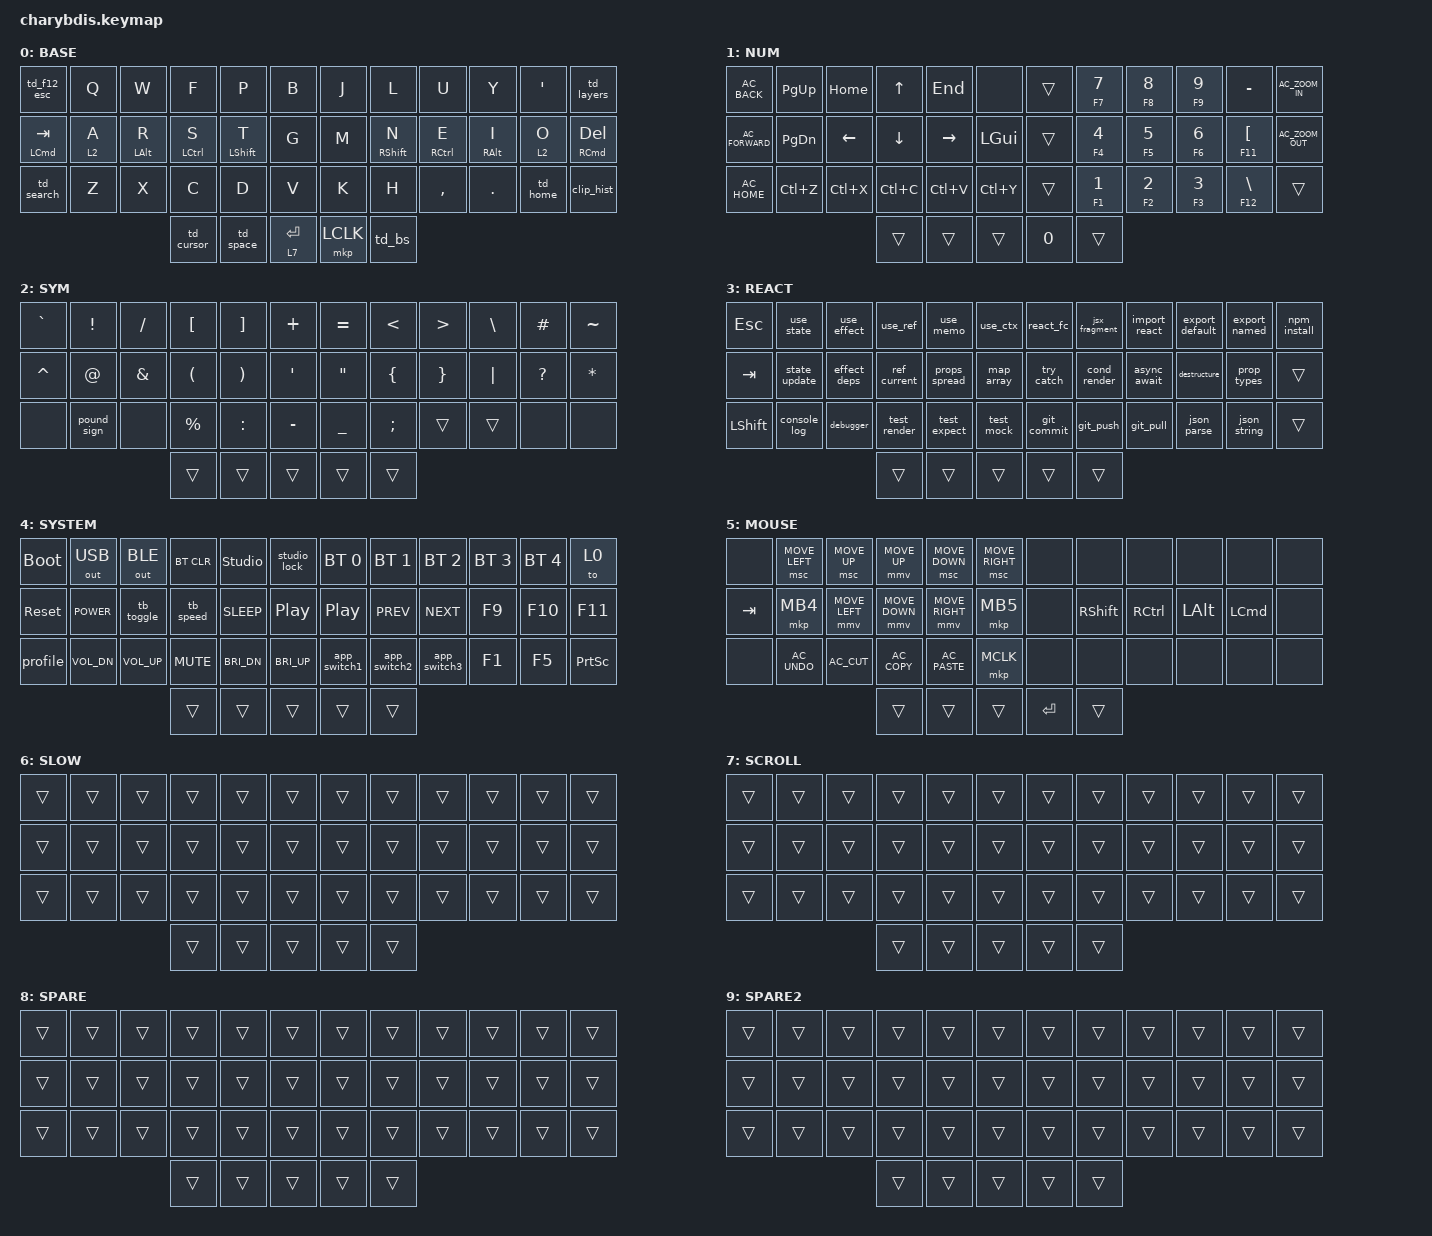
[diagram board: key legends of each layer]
#include <behaviors.dtsi>
#include <dt-bindings/zmk/bt.h>
#include <dt-bindings/zmk/keys.h>
#include <dt-bindings/zmk/mouse.h>
#include <dt-bindings/zmk/outputs.h>
#include <behaviors/mouse_keys.dtsi>
#include <dt-bindings/zmk/ext_power.h>
#include "macros.dtsi"
#include "behaviors.dtsi"
#include "combos.dtsi"
#include "js_react_macros.dtsi"

/ {
    /* input config for mouse move mode */
    trackball_listener {
        compatible = "zmk,input-behavior-listener";
        device = <&vtrackball>;
        layers = <0 1 2 3 5>;
        evt-type = <INPUT_EV_REL>;
        x-input-code = <INPUT_REL_X>;
        y-input-code = <INPUT_REL_Y>;
        scale-multiplier = <4>;
        scale-divisor = <5>;
        // bindings = <&ib_toggle_layer 7>;
    };

    /* input config for snipe mode */
    trackball_snipe_listener {
        compatible = "zmk,input-behavior-listener";
        device = <&vtrackball>;
        layers = <6>;
        evt-type = <INPUT_EV_REL>;
        x-input-code = <INPUT_REL_X>;
        y-input-code = <INPUT_REL_Y>;
        scale-multiplier = <1>;
        scale-divisor = <6>;
    };

    /* input config for mouse scroll mode */
    trackball_scroll_listener {
        compatible = "zmk,input-behavior-listener";
        device = <&vtrackball>;
        layers = <7>;
        evt-type = <INPUT_EV_REL>;
        x-input-code = <INPUT_REL_MISC>;
        y-input-code = <INPUT_REL_WHEEL>;
        y-invert;
        bindings = <&ib_wheel_scaler 1 14>;
    };

    /* define a resolution down scaler only for INPUT_REL_WHEEL */
    ib_wheel_scaler: ib_wheel_scaler {
        compatible = "zmk,input-behavior-scaler";
        #binding-cells = <2>;
        evt-type = <INPUT_EV_REL>;
        input-code = <INPUT_REL_WHEEL>;
    };

    /* adjust cooldown waiting period for mouse key layer after activated */
    ib_toggle_layer: ib_toggle_layer {
        compatible = "zmk,input-behavior-tog-layer";
        #binding-cells = <1>;
        time-to-live-ms = <750>;
    };
// ╭──────┬──────┬──────┬──────┬──────┬──────╮  ╭──────┬──────┬──────┬──────┬──────┬──────╮
//    00     01     02     03    04      05        06     07     08     09     10     11
// ├──────┼──────┼──────┼──────┼──────┼──────┤  ├──────┼──────┼──────┼──────┼──────┼──────┤
//    12     13     14     15    16      17        18     19     20     21     22     23
// ├──────┼──────┼──────┼──────┼──────┼──────┤  ├──────┼──────┼──────┼──────┼──────┼──────┤
//    24     25     26     27    28      29        30     31     32     33     34     35
// ╰──────┴──────┴──────┼──────┼──────┼──────┤  ├──────┼──────┼──────┴──────┴──────┴──────╯
//                         36     37     38        39     40
//                      ╰──────┴──────┴──────╯  ╰──────┴──────╯
// #define BASE    0
// #define NUM     1
// #define SYM     2
// #define REACT   3
// #define SYSTEM  4
// #define MOUSE   5
// #define SLOW    6
// #define SCROLL  7
// #define SPARE   8
// #define SPARE2  9

    keymap {
        compatible = "zmk,keymap";
        BASE {
            bindings = <
// ╭────────────────┬──────────────┬─────────────────────────────┬──────────────────────────────────┬──────────────────────┬────────╮  ╭────────────────┬─────────────────────────┬──────────────────────────────────────┬────────────────────────────────────┬────────────────────────┬──────────────╮
    &td_f12_esc      &kp Q           &kp W                          &kp F                              &kp P                  &kp B       &kp J             &kp L                   &kp U                                   &kp Y                                &kp SQT                  &td_layers
// ├────────────────┼──────────────┼─────────────────────────────┼──────────────────────────────────┼──────────────────────┼────────┤  ├────────────────┼─────────────────────────┼──────────────────────────────────────┼────────────────────────────────────┼────────────────────────┼──────────────┤
    &hm_left LCMD TAB  &lt 2 A      &hm_left LEFT_ALT R            &hm_left LCTRL S                   &hm_left LEFT_SHIFT T  &kp G       &kp M             &hm_right RIGHT_SHIFT N  &hm_right RCTRL E                       &hm_right RIGHT_ALT I                &lt 2 O                &hm_right RCMD  DEL
// ├────────────────┼──────────────┼─────────────────────────────┼──────────────────────────────────┼──────────────────────┼────────┤  ├────────────────┼─────────────────────────┼──────────────────────────────────────┼────────────────────────────────────┼────────────────────────┼──────────────┤
    &td_search          &kp Z        &kp X                          &kp C                              &kp D                  &kp V       &kp K               &kp H                   &kp COMMA                                &kp PERIOD                           &td_home               &clip_hist
// ╰────────────────┴──────────────┴─────────────────────────────┼──────────────────────────────────┼──────────────────────┼────────┤  ├────────────────┼─────────────────────────┼──────────────────────────────────────┴────────────────────────────────────┴────────────────────────┴──────────────╯
                                                                               &td_cursor     &td_space        &lt 7 RETURN                &mkp LCLK      &td_bs
                                                                          // ╰─────────────┴──────────────────┴────────╯               ╰────────────────┴──────────────╯
            >;
        };

        NUM {
            bindings = <
&kp C_AC_BACK    &kp PG_UP &kp HOME  &kp UP     &kp END      &none            &trans   &hm F7 N7  &hm F8 N8  &hm F9 N9  &kp MINUS     &kp C_AC_ZOOM_IN
&kp C_AC_FORWARD &kp PG_DN &kp LEFT  &kp DOWN   &kp RIGHT    &kp LGUI         &trans   &hm F4 N4  &hm F5 N5  &hm F6 N6  &hm F11 LBKT  &kp C_AC_ZOOM_OUT
&kp C_AC_HOME    &kp LC(Z) &kp LC(X) &kp LC(C)  &kp LC(V)    &kp LC(Y)        &trans   &hm F1 N1  &hm F2 N2  &hm F3 N3  &hm F12 BSLH  &trans
                                  &trans     &trans       &trans           &kp N0     &trans
            >;
        };

        SYM {
            bindings = <
&kp GRAVE  &kp EXCL     &kp FSLH  &kp LBKT  &kp RBKT   &kp PLUS        &kp EQUAL  &kp LT     &kp GT    &kp BSLH  &kp HASH   &kp TILDE
&kp CARET  &kp AT       &kp AMPS  &kp LPAR  &kp RPAR   &kp SQT         &kp DQT    &kp LBRC   &kp RBRC  &kp PIPE  &kp QMARK  &kp ASTRK
&none      &pound_sign  &none     &kp PRCNT &kp COLON  &kp MINUS       &kp UNDER  &kp SEMI   &trans    &trans    &none      &none
                                  &trans    &trans     &trans          &trans      &trans
            >;
        };

        REACT {
            bindings = <
&kp ESC     &use_state     &use_effect   &use_ref      &use_memo      &use_ctx        &react_fc    &jsx_fragment  &import_react  &export_default  &export_named  &npm_install
&kp TAB     &state_update  &effect_deps  &ref_current  &props_spread  &map_array      &try_catch   &cond_render   &async_await   &destructure     &prop_types    &trans
&kp LSHIFT  &console_log   &debugger     &test_render  &test_expect   &test_mock      &git_commit  &git_push      &git_pull      &json_parse      &json_string   &trans
                                         &trans        &trans         &trans          &trans       &trans
            >;
        };

        SYSTEM {
            bindings = <
&bootloader  &out OUT_USB     &out OUT_BLE  &bt BT_CLR  &studio_unlock   &studio_lock        &bt BT_SEL 0   &bt BT_SEL 1   &bt BT_SEL 2  &bt BT_SEL 3  &bt BT_SEL 4  &to 0
&sys_reset   &kp C_POWER      &tb_toggle    &tb_speed   &kp C_SLEEP   &kp C_PP            &kp C_PP       &kp C_PREV     &kp C_NEXT    &kp F9        &kp F10       &kp F11
&profile     &kp C_VOL_DN     &kp C_VOL_UP  &kp C_MUTE  &kp C_BRI_DN  &kp C_BRI_UP        &app_switch1   &app_switch2   &app_switch3  &kp F1        &kp F5        &kp PSCRN
                                         &trans      &trans        &trans              &trans         &trans
            >;
        };

        MOUSE {
            bindings = <
&none    &msc MOVE_LEFT  &msc MOVE_UP    &mmv MOVE_UP    &msc MOVE_DOWN   &msc MOVE_RIGHT    &none  &none            &none      &none         &none          &none
&kp TAB  &mkp MB4        &mmv MOVE_LEFT  &mmv MOVE_DOWN  &mmv MOVE_RIGHT  &mkp MB5           &none  &kp RIGHT_SHIFT  &kp RCTRL  &kp LEFT_ALT  &kp LCMD  &none
&none    &kp C_AC_UNDO   &kp C_AC_CUT    &kp C_AC_COPY   &kp C_AC_PASTE   &mkp MCLK          &none  &none            &none      &none         &none          &none
                                         &trans          &trans           &trans             &kp RETURN              &trans
            >;
        };

        SLOW {
            bindings = <
&trans    &trans    &trans    &trans    &trans    &trans    &trans    &trans    &trans    &trans    &trans    &trans
&trans    &trans    &trans    &trans    &trans    &trans    &trans    &trans    &trans    &trans    &trans    &trans
&trans    &trans    &trans    &trans    &trans    &trans    &trans    &trans    &trans    &trans    &trans    &trans
                              &trans    &trans    &trans    &trans    &trans
            >;
        };

        SCROLL {
            bindings = <
&trans    &trans    &trans    &trans    &trans    &trans    &trans    &trans    &trans    &trans    &trans    &trans
&trans    &trans    &trans    &trans    &trans    &trans    &trans    &trans    &trans    &trans    &trans    &trans
&trans    &trans    &trans    &trans    &trans    &trans    &trans    &trans    &trans    &trans    &trans    &trans
                              &trans    &trans    &trans    &trans    &trans
            >;
        };

        SPARE {
            bindings = <
&trans    &trans    &trans    &trans    &trans    &trans    &trans    &trans    &trans    &trans    &trans    &trans
&trans    &trans    &trans    &trans    &trans    &trans    &trans    &trans    &trans    &trans    &trans    &trans
&trans    &trans    &trans    &trans    &trans    &trans    &trans    &trans    &trans    &trans    &trans    &trans
                              &trans    &trans    &trans    &trans    &trans
            >;
        };

        SPARE2 {
            bindings = <
&trans    &trans    &trans    &trans    &trans    &trans    &trans    &trans    &trans    &trans    &trans    &trans
&trans    &trans    &trans    &trans    &trans    &trans    &trans    &trans    &trans    &trans    &trans    &trans
&trans    &trans    &trans    &trans    &trans    &trans    &trans    &trans    &trans    &trans    &trans    &trans
                              &trans    &trans    &trans    &trans    &trans
            >;
        };
    };
};
